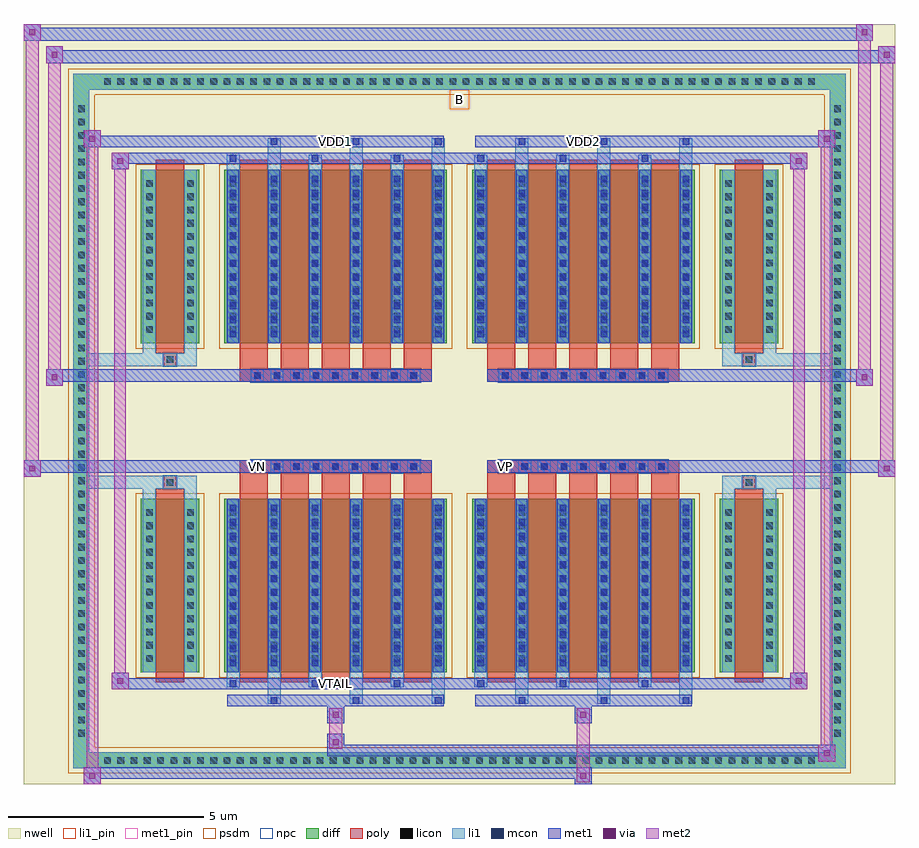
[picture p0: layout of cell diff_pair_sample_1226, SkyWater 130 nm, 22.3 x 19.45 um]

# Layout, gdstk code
import gdstk
lib = gdstk.Library(unit=1e-6, precision=5e-09)
def R(c, l, rs):  # rectangles x0, y0, x1, y1
    for r in rs: c.add(gdstk.rectangle(r[:2], r[2:], *l))
def A(c, l, x, y, w, h, nx, ny, dx, dy):  # array of equal rectangles
    R(c, l, [(x+i*dx, y+j*dy, x+i*dx+w, y+j*dy+h) for i in range(nx) for j in range(ny)])
def P(c, l, *ps):  # polygons
    for p in ps: c.add(gdstk.Polygon(p, *l))
nwell = (64, 20)
diff = (65, 20)
poly = (66, 20)
licon = (66, 44)
li1_pin = (67, 16)
li1 = (67, 20)
mcon = (67, 44)
met1_pin = (68, 16)
met1 = (68, 20)
via = (68, 44)
met2 = (69, 20)
psdm = (94, 20)
npc = (95, 20)

diff_pair_sample_1226 = lib.new_cell('diff_pair_sample_1226')
R(diff_pair_sample_1226, nwell, [(-11.15,-9.29,11.15,10.16), (-8.47,-7.48,-0.01,-0.8), (0.01,-7.48,8.47,-0.8), (-8.47,0.8,-0.01,7.48), (0.01,0.8,8.47,7.48)])
A(diff_pair_sample_1226, diff, -9.215, -8.89, 0.41, 0.41, 54, 2, 0.34, 17.37)
A(diff_pair_sample_1226, diff, -9.88, -8.195, 0.41, 0.41, 1, 48, 0, 0.34)
A(diff_pair_sample_1226, diff, 9.47, -8.195, 0.41, 0.41, 1, 48, 0, 0.34)
R(diff_pair_sample_1226, diff, [(-9.215,-8.89,9.215,-8.48), (-9.88,-8.195,-9.47,8.195), (9.47,-8.195,9.88,8.195), (-8.16,-6.435,-6.66,-1.985), (-6.02,-6.435,-0.32,-1.985), (0.32,-6.435,6.02,-1.985), (6.66,-6.435,8.16,-1.985), (-8.16,1.985,-6.66,6.435), (-6.02,1.985,-0.32,6.435), (0.32,1.985,6.02,6.435), (6.66,1.985,8.16,6.435), (-9.215,8.48,9.215,8.89)])
P(diff_pair_sample_1226, diff, [(9.88,8.89),(-9.88,8.89),(-9.88,-8.48),(-9.47,-8.48),(-9.47,8.48),(9.47,8.48),(9.47,-8.48),(-9.47,-8.48),(-9.88,-8.48),(-9.88,-8.89),(9.88,-8.89)])
A(diff_pair_sample_1226, poly, -5.63, -6.685, 0.72, 4.95, 5, 2, 1.05, 8.42)
A(diff_pair_sample_1226, poly, 0.71, -6.685, 0.72, 4.95, 5, 2, 1.05, 8.42)
A(diff_pair_sample_1226, poly, -5.63, -1.735, 0.72, 0.405, 5, 2, 1.05, 3.065)
A(diff_pair_sample_1226, poly, 0.71, -1.735, 0.72, 0.405, 5, 2, 1.05, 3.065)
A(diff_pair_sample_1226, poly, -5.335, -1.33, 0.33, 0.33, 9, 2, 0.5, 2.33)
A(diff_pair_sample_1226, poly, 1.005, -1.33, 0.33, 0.33, 9, 2, 0.5, 2.33)
R(diff_pair_sample_1226, poly, [(-7.77,-6.685,-7.05,-1.735), (7.05,-6.685,7.77,-1.735), (-7.575,-1.735,-7.245,-1.405), (-7.575,-1.735,-7.245,-1.405), (7.245,-1.735,7.575,-1.405), (7.245,-1.735,7.575,-1.405), (-5.63,-1.33,-0.71,-1), (0.71,-1.33,5.63,-1), (-5.63,1,-0.71,1.33), (0.71,1,5.63,1.33), (-7.575,1.405,-7.245,1.735), (-7.575,1.405,-7.245,1.735), (7.245,1.405,7.575,1.735), (7.245,1.405,7.575,1.735), (-7.77,1.735,-7.05,6.685), (7.05,1.735,7.77,6.685)])
A(diff_pair_sample_1226, licon, -9.095, -8.77, 0.17, 0.17, 54, 2, 0.34, 17.37)
A(diff_pair_sample_1226, licon, -9.76, -8.075, 0.17, 0.17, 1, 48, 0, 0.34)
A(diff_pair_sample_1226, licon, 9.59, -8.075, 0.17, 0.17, 1, 48, 0, 0.34)
A(diff_pair_sample_1226, licon, -8.02, -6.165, 0.17, 0.17, 1, 12, 0, 0.34)
A(diff_pair_sample_1226, licon, -6.97, -6.165, 0.17, 0.17, 1, 12, 0, 0.34)
A(diff_pair_sample_1226, licon, -5.88, -6.165, 0.17, 0.17, 6, 12, 1.05, 0.34)
A(diff_pair_sample_1226, licon, 0.46, -6.165, 0.17, 0.17, 6, 12, 1.05, 0.34)
A(diff_pair_sample_1226, licon, 6.8, -6.165, 0.17, 0.17, 1, 12, 0, 0.34)
A(diff_pair_sample_1226, licon, 7.85, -6.165, 0.17, 0.17, 1, 12, 0, 0.34)
A(diff_pair_sample_1226, licon, -5.255, -1.25, 0.17, 0.17, 9, 2, 0.5, 2.33)
A(diff_pair_sample_1226, licon, 1.085, -1.25, 0.17, 0.17, 9, 2, 0.5, 2.33)
A(diff_pair_sample_1226, licon, -8.02, 2.255, 0.17, 0.17, 1, 12, 0, 0.34)
A(diff_pair_sample_1226, licon, -6.97, 2.255, 0.17, 0.17, 1, 12, 0, 0.34)
A(diff_pair_sample_1226, licon, -5.88, 2.255, 0.17, 0.17, 6, 12, 1.05, 0.34)
A(diff_pair_sample_1226, licon, 0.46, 2.255, 0.17, 0.17, 6, 12, 1.05, 0.34)
A(diff_pair_sample_1226, licon, 6.8, 2.255, 0.17, 0.17, 1, 12, 0, 0.34)
A(diff_pair_sample_1226, licon, 7.85, 2.255, 0.17, 0.17, 1, 12, 0, 0.34)
R(diff_pair_sample_1226, licon, [(-7.495,-1.655,-7.325,-1.485), (7.325,-1.655,7.495,-1.485), (-7.495,1.485,-7.325,1.655), (7.325,1.485,7.495,1.655)])
R(diff_pair_sample_1226, li1_pin, [(-0.25,7.98,0.25,8.48)])
A(diff_pair_sample_1226, li1, -9.175, -8.85, 0.33, 0.33, 54, 2, 0.34, 17.37)
A(diff_pair_sample_1226, li1, -9.84, -8.155, 0.33, 0.33, 1, 48, 0, 0.34)
A(diff_pair_sample_1226, li1, 9.51, -8.155, 0.33, 0.33, 1, 48, 0, 0.34)
A(diff_pair_sample_1226, li1, -4.91, -7.24, 0.33, 0.805, 3, 2, 2.1, 13.675)
A(diff_pair_sample_1226, li1, -4.83, -7.24, 0.17, 0.17, 3, 2, 2.1, 14.31)
A(diff_pair_sample_1226, li1, 1.43, -7.24, 0.33, 0.805, 3, 2, 2.1, 13.675)
A(diff_pair_sample_1226, li1, 1.51, -7.24, 0.17, 0.17, 3, 2, 2.1, 14.31)
A(diff_pair_sample_1226, li1, -5.96, -6.81, 0.33, 0.375, 3, 2, 2.1, 13.245)
A(diff_pair_sample_1226, li1, -5.88, -6.81, 0.17, 0.17, 3, 2, 2.1, 13.45)
A(diff_pair_sample_1226, li1, 0.38, -6.81, 0.33, 0.375, 3, 2, 2.1, 13.245)
A(diff_pair_sample_1226, li1, 0.46, -6.81, 0.17, 0.17, 3, 2, 2.1, 13.45)
A(diff_pair_sample_1226, li1, -5.96, -6.435, 0.33, 4.45, 6, 2, 1.05, 8.42)
A(diff_pair_sample_1226, li1, 0.38, -6.435, 0.33, 4.45, 6, 2, 1.05, 8.42)
A(diff_pair_sample_1226, li1, -5.88, -6.275, 0.17, 0.17, 6, 12, 1.05, 0.36)
A(diff_pair_sample_1226, li1, -5.88, -6.275, 0.17, 4.13, 6, 2, 1.05, 8.42)
A(diff_pair_sample_1226, li1, 0.46, -6.275, 0.17, 0.17, 6, 12, 1.05, 0.36)
A(diff_pair_sample_1226, li1, 0.46, -6.275, 0.17, 4.13, 6, 2, 1.05, 8.42)
A(diff_pair_sample_1226, li1, -8.1, -6.245, 0.33, 0.33, 1, 12, 0, 0.34)
A(diff_pair_sample_1226, li1, -7.05, -6.245, 0.33, 0.33, 1, 12, 0, 0.34)
A(diff_pair_sample_1226, li1, -5.96, -6.245, 0.33, 0.33, 6, 12, 1.05, 0.34)
A(diff_pair_sample_1226, li1, 0.38, -6.245, 0.33, 0.33, 6, 12, 1.05, 0.34)
A(diff_pair_sample_1226, li1, 6.72, -6.245, 0.33, 0.33, 1, 12, 0, 0.34)
A(diff_pair_sample_1226, li1, 7.77, -6.245, 0.33, 0.33, 1, 12, 0, 0.34)
A(diff_pair_sample_1226, li1, -5.335, -1.33, 0.33, 0.33, 9, 2, 0.5, 2.33)
A(diff_pair_sample_1226, li1, 1.005, -1.33, 0.33, 0.33, 9, 2, 0.5, 2.33)
A(diff_pair_sample_1226, li1, -5.88, 2.145, 0.17, 0.17, 6, 12, 1.05, 0.36)
A(diff_pair_sample_1226, li1, 0.46, 2.145, 0.17, 0.17, 6, 12, 1.05, 0.36)
A(diff_pair_sample_1226, li1, -8.1, 2.175, 0.33, 0.33, 1, 12, 0, 0.34)
A(diff_pair_sample_1226, li1, -7.05, 2.175, 0.33, 0.33, 1, 12, 0, 0.34)
A(diff_pair_sample_1226, li1, -5.96, 2.175, 0.33, 0.33, 6, 12, 1.05, 0.34)
A(diff_pair_sample_1226, li1, 0.38, 2.175, 0.33, 0.33, 6, 12, 1.05, 0.34)
A(diff_pair_sample_1226, li1, 6.72, 2.175, 0.33, 0.33, 1, 12, 0, 0.34)
A(diff_pair_sample_1226, li1, 7.77, 2.175, 0.33, 0.33, 1, 12, 0, 0.34)
R(diff_pair_sample_1226, li1, [(-9.88,-8.89,-9.47,-8.48), (-9.88,-8.89,-9.47,-8.48), (-9.47,-8.89,9.47,-8.48), (9.47,-8.89,9.88,-8.48), (9.47,-8.89,9.88,-8.48), (-9.88,-8.48,-9.47,8.48), (9.47,-8.48,9.88,8.48), (-8.1,-6.435,-7.77,-1.985), (-7.05,-6.435,-6.72,-1.985), (6.72,-6.435,7.05,-1.985), (7.77,-6.435,8.1,-1.985), (-8.1,-1.985,-7.77,-1.405), (-7.05,-1.985,-6.72,-1.405), (6.72,-1.985,7.05,-1.405), (7.77,-1.985,8.1,-1.405), (-9.88,-1.735,-7.575,-1.405), (-8.1,-1.735,-7.575,-1.405), (-7.575,-1.735,-7.245,-1.405), (-7.245,-1.735,-6.72,-1.405), (6.72,-1.735,7.245,-1.405), (7.245,-1.735,7.575,-1.405), (7.245,-1.735,9.88,-1.405), (7.575,-1.735,8.1,-1.405), (-9.88,1.405,-7.575,1.735), (-8.1,1.405,-7.575,1.735), (-8.1,1.405,-7.77,1.985), (-7.575,1.405,-7.245,1.735), (-7.245,1.405,-6.72,1.735), (-7.05,1.405,-6.72,1.985), (6.72,1.405,7.245,1.735), (6.72,1.405,7.05,1.985), (7.245,1.405,7.575,1.735), (7.245,1.405,9.88,1.735), (7.575,1.405,8.1,1.735), (7.77,1.405,8.1,1.985), (-8.1,1.985,-7.77,6.435), (-7.05,1.985,-6.72,6.435), (6.72,1.985,7.05,6.435), (7.77,1.985,8.1,6.435), (-9.88,8.48,-9.47,8.89), (-9.88,8.48,-9.47,8.89), (-9.47,8.48,9.47,8.89), (9.47,8.48,9.88,8.89), (9.47,8.48,9.88,8.89)])
A(diff_pair_sample_1226, mcon, -4.83, -7.24, 0.17, 0.17, 3, 2, 2.1, 14.31)
A(diff_pair_sample_1226, mcon, 1.51, -7.24, 0.17, 0.17, 3, 2, 2.1, 14.31)
A(diff_pair_sample_1226, mcon, -5.88, -6.81, 0.17, 0.17, 3, 2, 2.1, 13.45)
A(diff_pair_sample_1226, mcon, 0.46, -6.81, 0.17, 0.17, 3, 2, 2.1, 13.45)
A(diff_pair_sample_1226, mcon, -5.88, -6.275, 0.17, 0.17, 6, 12, 1.05, 0.36)
A(diff_pair_sample_1226, mcon, 0.46, -6.275, 0.17, 0.17, 6, 12, 1.05, 0.36)
A(diff_pair_sample_1226, mcon, -5.255, -1.25, 0.17, 0.17, 9, 2, 0.5, 2.33)
A(diff_pair_sample_1226, mcon, 1.085, -1.25, 0.17, 0.17, 9, 2, 0.5, 2.33)
A(diff_pair_sample_1226, mcon, -5.88, 2.145, 0.17, 0.17, 6, 12, 1.05, 0.36)
A(diff_pair_sample_1226, mcon, 0.46, 2.145, 0.17, 0.17, 6, 12, 1.05, 0.36)
R(diff_pair_sample_1226, met1_pin, [(-3.305,-6.85,-3.035,-6.58), (-5.305,-1.29,-5.035,-1.02), (1.035,-1.29,1.305,-1.02), (-3.305,7.03,-3.035,7.3), (3.035,7.03,3.305,7.3)])
A(diff_pair_sample_1226, met1, -4.89, -7.3, 0.29, 0.29, 3, 2, 2.1, 14.31)
A(diff_pair_sample_1226, met1, 1.45, -7.3, 0.29, 0.29, 3, 2, 2.1, 14.31)
A(diff_pair_sample_1226, met1, -5.94, -6.87, 0.29, 0.29, 3, 2, 2.1, 13.45)
A(diff_pair_sample_1226, met1, 0.4, -6.87, 0.29, 0.29, 3, 2, 2.1, 13.45)
A(diff_pair_sample_1226, met1, -5.94, -6.435, 0.29, 4.45, 6, 2, 1.05, 8.42)
A(diff_pair_sample_1226, met1, 0.4, -6.435, 0.29, 4.45, 6, 2, 1.05, 8.42)
A(diff_pair_sample_1226, met1, -5.94, -6.335, 0.29, 0.29, 6, 12, 1.05, 0.36)
A(diff_pair_sample_1226, met1, 0.4, -6.335, 0.29, 0.29, 6, 12, 1.05, 0.36)
A(diff_pair_sample_1226, met1, -5.315, -1.31, 0.29, 0.29, 9, 2, 0.5, 2.33)
A(diff_pair_sample_1226, met1, 1.025, -1.31, 0.29, 0.29, 9, 2, 0.5, 2.33)
A(diff_pair_sample_1226, met1, -5.94, 2.085, 0.29, 0.29, 6, 12, 1.05, 0.36)
A(diff_pair_sample_1226, met1, 0.4, 2.085, 0.29, 0.29, 6, 12, 1.05, 0.36)
R(diff_pair_sample_1226, met1, [(-9.61,-9.29,-9.18,-8.86), (2.955,-9.29,3.385,-8.86), (-9.61,-9.15,3.385,-8.86), (9.18,-8.72,9.61,-8.29), (-3.385,-8.58,9.61,-8.29), (-3.385,-8.44,-2.955,-8.01), (-3.385,-7.73,-2.955,-7.3), (2.955,-7.73,3.385,-7.3), (-5.94,-7.3,-0.4,-7.01), (0.4,-7.3,5.94,-7.01), (-8.9,-6.87,-8.47,-6.44), (-8.9,-6.87,-5.94,-6.58), (-5.94,-6.87,-0.4,-6.58), (-0.4,-6.87,0.4,-6.58), (0.4,-6.87,5.94,-6.58), (5.94,-6.87,8.9,-6.58), (8.47,-6.87,8.9,-6.44), (-11.15,-1.43,-10.72,-1), (10.72,-1.43,11.15,-1), (-11.15,-1.33,-0.71,-1), (-5.63,-1.33,-0.71,-1), (0.71,-1.33,5.63,-1), (0.71,-1.33,11.15,-1), (-10.58,0.9,-10.15,1.33), (10.15,0.9,10.58,1.33), (-10.58,1,-5.63,1.33), (-5.63,1,-0.71,1.33), (0.71,1,5.63,1.33), (5.63,1,10.58,1.33), (-8.9,6.44,-8.47,6.87), (8.47,6.44,8.9,6.87), (-8.9,6.58,-5.94,6.87), (-5.94,6.58,-0.4,6.87), (-0.4,6.58,0.4,6.87), (0.4,6.58,5.94,6.87), (5.94,6.58,8.9,6.87), (-9.61,7.01,-9.18,7.44), (-9.61,7.01,-5.94,7.3), (-5.94,7.01,-0.4,7.3), (0.4,7.01,5.94,7.3), (5.94,7.01,9.61,7.3), (9.18,7.01,9.61,7.44), (-10.58,9.16,-10.15,9.59), (-10.58,9.16,-8.47,9.49), (-8.47,9.16,8.47,9.49), (8.47,9.16,11.15,9.49), (10.72,9.16,11.15,9.59), (-11.15,9.73,-10.72,10.16), (-11.15,9.73,-8.47,10.06), (-8.47,9.73,8.47,10.06), (8.47,9.73,10.58,10.06), (10.15,9.73,10.58,10.16)])
R(diff_pair_sample_1226, via, [(-9.47,-9.15,-9.32,-9), (3.095,-9.15,3.245,-9), (9.32,-8.58,9.47,-8.43), (-3.245,-8.3,-3.095,-8.15), (-3.245,-7.59,-3.095,-7.44), (3.095,-7.59,3.245,-7.44), (-8.76,-6.73,-8.61,-6.58), (8.61,-6.73,8.76,-6.58), (-11.01,-1.29,-10.86,-1.14), (10.86,-1.29,11.01,-1.14), (-10.44,1.04,-10.29,1.19), (10.29,1.04,10.44,1.19), (-8.76,6.58,-8.61,6.73), (8.61,6.58,8.76,6.73), (-9.47,7.15,-9.32,7.3), (9.32,7.15,9.47,7.3), (-10.44,9.3,-10.29,9.45), (10.86,9.3,11.01,9.45), (-11.01,9.87,-10.86,10.02), (10.29,9.87,10.44,10.02)])
R(diff_pair_sample_1226, met2, [(-9.61,-9.29,-9.18,-8.86), (-9.54,-9.29,-9.25,7.44), (-9.25,-9.29,-9.18,-8.86), (-9.56,-9.24,-9.23,-8.91), (3.005,-9.24,3.335,-8.91), (3.005,-8.91,3.335,-7.68), (9.18,-8.72,9.61,-8.29), (9.25,-8.72,9.54,7.44), (9.54,-8.72,9.61,-8.29), (9.23,-8.67,9.56,-8.34), (-3.335,-8.39,-3.005,-8.06), (-3.335,-8.06,-3.005,-7.68), (-3.335,-7.68,-3.005,-7.35), (3.005,-7.68,3.335,-7.35), (-8.9,-6.87,-8.47,-6.44), (-8.83,-6.87,-8.54,6.87), (-8.54,-6.87,-8.47,-6.44), (8.47,-6.87,8.9,-6.44), (8.54,-6.87,8.83,6.87), (8.83,-6.87,8.9,-6.44), (-8.85,-6.82,-8.52,-6.49), (8.52,-6.82,8.85,-6.49), (-11.15,-1.43,-10.72,-1), (-11.1,-1.43,-10.77,10.16), (-10.77,-1.43,-10.72,-1), (10.72,-1.43,11.15,-1), (10.77,-1.43,11.1,9.59), (11.1,-1.43,11.15,-1), (-11.1,-1.38,-10.77,-1.05), (10.77,-1.38,11.1,-1.05), (-10.58,0.9,-10.15,1.33), (-10.53,0.9,-10.2,9.59), (-10.2,0.9,-10.15,1.33), (10.15,0.9,10.58,1.33), (10.2,0.9,10.53,10.16), (10.53,0.9,10.58,1.33), (-10.53,0.95,-10.2,1.28), (10.2,0.95,10.53,1.28), (-8.9,6.44,-8.47,6.87), (-8.54,6.44,-8.47,6.87), (8.47,6.44,8.9,6.87), (8.83,6.44,8.9,6.87), (-8.85,6.49,-8.52,6.82), (8.52,6.49,8.85,6.82), (-9.61,7.01,-9.18,7.44), (-9.25,7.01,-9.18,7.44), (9.18,7.01,9.61,7.44), (9.54,7.01,9.61,7.44), (-9.56,7.06,-9.23,7.39), (9.23,7.06,9.56,7.39), (-10.58,9.16,-10.15,9.59), (-10.2,9.16,-10.15,9.59), (10.72,9.16,11.15,9.59), (11.1,9.16,11.15,9.59), (-10.53,9.21,-10.2,9.54), (10.77,9.21,11.1,9.54), (-11.15,9.73,-10.72,10.16), (-10.77,9.73,-10.72,10.16), (10.15,9.73,10.58,10.16), (10.53,9.73,10.58,10.16), (-11.1,9.78,-10.77,10.11), (10.2,9.78,10.53,10.11)])
R(diff_pair_sample_1226, psdm, [(-8.29,-6.565,-6.53,-1.855), (-6.15,-6.565,-0.19,-1.855), (0.19,-6.565,6.15,-1.855), (6.53,-6.565,8.29,-1.855), (-8.29,1.855,-6.53,6.565), (-6.15,1.855,-0.19,6.565), (0.19,1.855,6.15,6.565), (6.53,1.855,8.29,6.565)])
P(diff_pair_sample_1226, psdm, [(10.01,9.02),(-10.01,9.02),(-10.01,-8.35),(-9.34,-8.35),(-9.34,8.35),(9.34,8.35),(9.34,-8.35),(-9.34,-8.35),(-10.01,-8.35),(-10.01,-9.02),(10.01,-9.02)])
A(diff_pair_sample_1226, npc, -5.355, -1.35, 0.37, 0.37, 9, 2, 0.5, 2.33)
A(diff_pair_sample_1226, npc, 0.985, -1.35, 0.37, 0.37, 9, 2, 0.5, 2.33)
R(diff_pair_sample_1226, npc, [(-7.595,-1.755,-7.225,-1.385), (7.225,-1.755,7.595,-1.385), (-5.355,-1.35,-4.485,-0.98), (-5.355,-1.35,-4.485,-0.98), (-4.855,-1.35,-3.985,-0.98), (-4.855,-1.35,-3.985,-0.98), (-4.355,-1.35,-3.485,-0.98), (-4.355,-1.35,-3.485,-0.98), (-3.855,-1.35,-2.985,-0.98), (-3.855,-1.35,-2.985,-0.98), (-3.355,-1.35,-2.485,-0.98), (-3.355,-1.35,-2.485,-0.98), (-2.855,-1.35,-1.985,-0.98), (-2.855,-1.35,-1.985,-0.98), (-2.355,-1.35,-1.485,-0.98), (-2.355,-1.35,-1.485,-0.98), (-1.855,-1.35,-0.985,-0.98), (-1.855,-1.35,-0.985,-0.98), (0.985,-1.35,1.855,-0.98), (0.985,-1.35,1.855,-0.98), (1.485,-1.35,2.355,-0.98), (1.485,-1.35,2.355,-0.98), (1.985,-1.35,2.855,-0.98), (1.985,-1.35,2.855,-0.98), (2.485,-1.35,3.355,-0.98), (2.485,-1.35,3.355,-0.98), (2.985,-1.35,3.855,-0.98), (2.985,-1.35,3.855,-0.98), (3.485,-1.35,4.355,-0.98), (3.485,-1.35,4.355,-0.98), (3.985,-1.35,4.855,-0.98), (3.985,-1.35,4.855,-0.98), (4.485,-1.35,5.355,-0.98), (4.485,-1.35,5.355,-0.98), (-5.355,0.98,-4.485,1.35), (-5.355,0.98,-4.485,1.35), (-4.855,0.98,-3.985,1.35), (-4.855,0.98,-3.985,1.35), (-4.355,0.98,-3.485,1.35), (-4.355,0.98,-3.485,1.35), (-3.855,0.98,-2.985,1.35), (-3.855,0.98,-2.985,1.35), (-3.355,0.98,-2.485,1.35), (-3.355,0.98,-2.485,1.35), (-2.855,0.98,-1.985,1.35), (-2.855,0.98,-1.985,1.35), (-2.355,0.98,-1.485,1.35), (-2.355,0.98,-1.485,1.35), (-1.855,0.98,-0.985,1.35), (-1.855,0.98,-0.985,1.35), (0.985,0.98,1.855,1.35), (0.985,0.98,1.855,1.35), (1.485,0.98,2.355,1.35), (1.485,0.98,2.355,1.35), (1.985,0.98,2.855,1.35), (1.985,0.98,2.855,1.35), (2.485,0.98,3.355,1.35), (2.485,0.98,3.355,1.35), (2.985,0.98,3.855,1.35), (2.985,0.98,3.855,1.35), (3.485,0.98,4.355,1.35), (3.485,0.98,4.355,1.35), (3.985,0.98,4.855,1.35), (3.985,0.98,4.855,1.35), (4.485,0.98,5.355,1.35), (4.485,0.98,5.355,1.35), (-7.595,1.385,-7.225,1.755), (7.225,1.385,7.595,1.755)])
diff_pair_sample_1226.add(gdstk.Label('VTAIL', (-3.17,-6.715), layer=68, texttype=5))
diff_pair_sample_1226.add(gdstk.Label('VN', (-5.17,-1.155), layer=68, texttype=5))
diff_pair_sample_1226.add(gdstk.Label('VP', (1.17,-1.155), layer=68, texttype=5))
diff_pair_sample_1226.add(gdstk.Label('B', (0,8.23), layer=67, texttype=5))
diff_pair_sample_1226.add(gdstk.Label('VDD2', (3.17,7.165), layer=68, texttype=5))
diff_pair_sample_1226.add(gdstk.Label('VDD1', (-3.17,7.165), layer=68, texttype=5))

lib.write_gds('diff_pair_sample_1226.gds')
